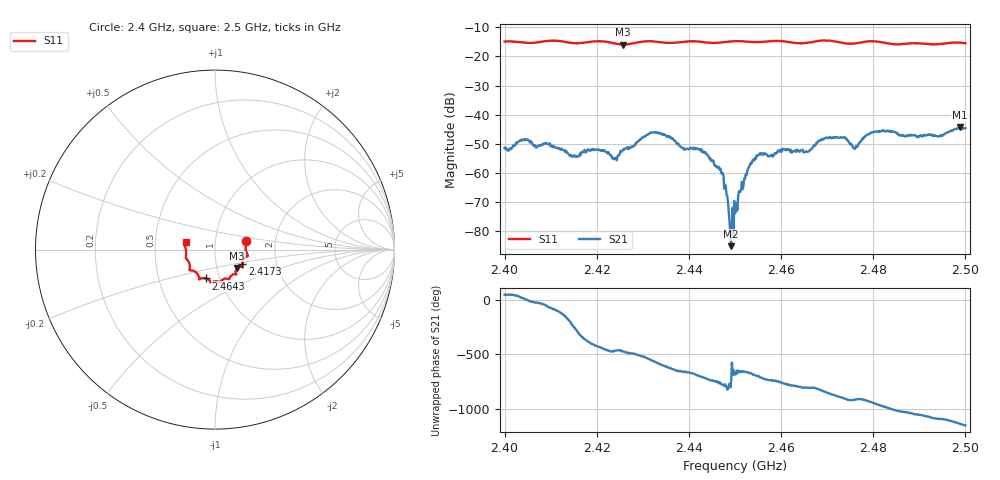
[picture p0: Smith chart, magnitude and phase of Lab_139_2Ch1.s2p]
# Hz S RI R 50
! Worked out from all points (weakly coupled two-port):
!   601 points, 2.4 GHz to 2.5 GHz, reference 50 ohm
!   highest |S21| = -44.40 dB at 2.4988 GHz (marker M1); lowest = -85.3 dB at 2.4492 GHz (marker M2)
!   lowest |S11| = -15.9 dB at 2.4257 GHz (marker M3), VSWR 1.38, Z = 62.5 - j13.1 ohm
!   |S11| at or under -10 dB: start of sweep to end of sweep
!   S12 and S22 are empty: the file has one direction only
!   S11 on the Smith chart (normalised r, x): 2.4 GHz: 1.41, +0.14; 2.4173 GHz: 1.34, -0.23; 2.4643 GHz: 0.86, -0.28; 2.5 GHz: 0.72, +0.06
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2.4e9  0.1737 0.0493  0.00193 0.00189  0 0  0 0
2.404667e9  0.1707 0.0176  0.00367 4.6e-06  0 0  0 0
2.416667e9  0.153 -0.0746  0.00206 0.000908  0 0  0 0
2.417333e9  0.1522 -0.082  0.00247 -1.21e-05  0 0  0 0
2.423833e9  0.1385 -0.0943  -0.000488 -0.00174  0 0  0 0
2.425667e9  0.123 -0.1024  -0.000946 -0.00224  0 0  0 0
2.433333e9  0.1128 -0.1368  -0.00356 0.00316  0 0  0 0
2.443167e9  0.0687 -0.162  0.00228 0.000373  0 0  0 0
2.446833e9  0.0417 -0.1682  0.000914 -0.00073  0 0  0 0
2.447833e9  0.036 -0.1731  0.00039 -0.000489  0 0  0 0
2.449167e9  0.0317 -0.1788  4.71e-05 -2.75e-05  0 0  0 0
2.45e9  0.0293 -0.1808  0.00016 0.000118  0 0  0 0
2.452833e9  0.0183 -0.178  0.000656 0.000972  0 0  0 0
2.455e9  0.00186 -0.1766  0.00185 0.000819  0 0  0 0
2.464333e9  -0.0499 -0.1607  0.000418 -0.00242  0 0  0 0
2.466667e9  -0.0759 -0.1596  0.000353 -0.00255  0 0  0 0
2.471667e9  -0.0874 -0.1592  -0.0036 -0.0018  0 0  0 0
2.476167e9  -0.1182 -0.119  -0.00263 0.000508  0 0  0 0
2.483333e9  -0.1404 -0.0897  7.24e-05 0.00521  0 0  0 0
2.494167e9  -0.1621 1.42e-05  0.0042 -0.000497  0 0  0 0
2.498833e9  -0.1687 0.0356  0.00373 -0.00473  0 0  0 0
2.5e9  -0.1632 0.042  0.00224 -0.00536  0 0  0 0
